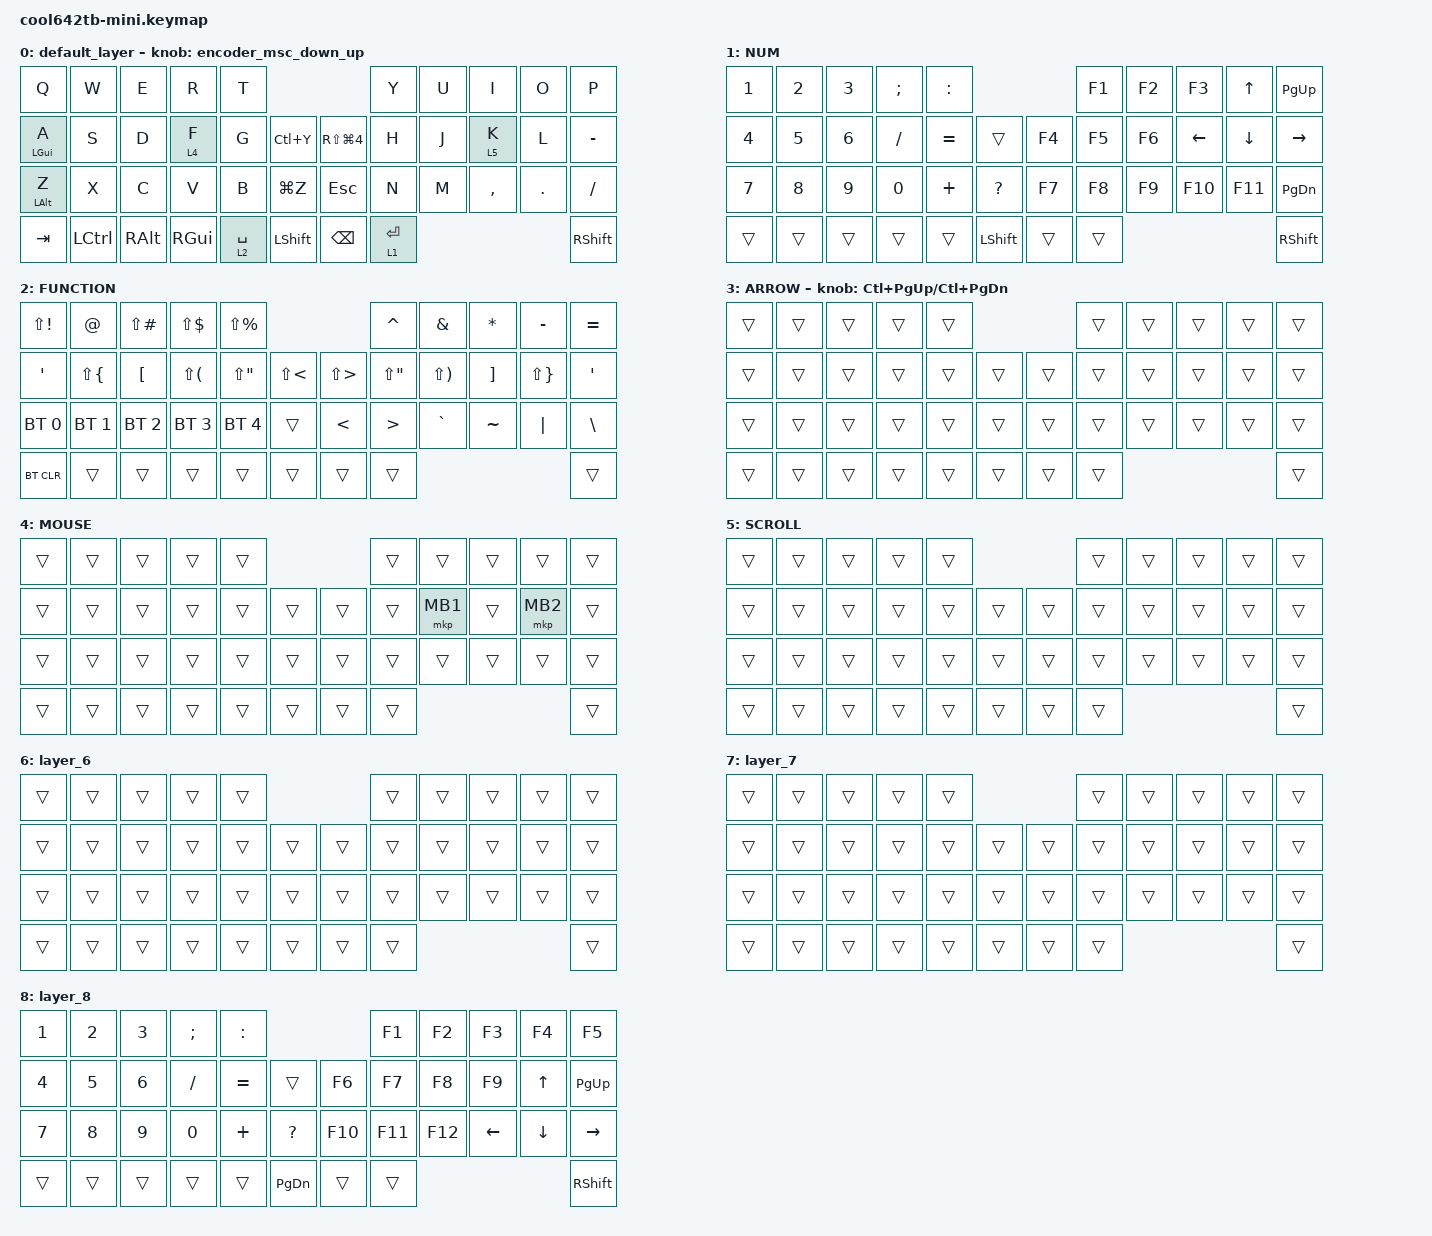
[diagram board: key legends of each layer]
#include <behaviors.dtsi>
#include <dt-bindings/zmk/bt.h>
#include <dt-bindings/zmk/keys.h>
#include <dt-bindings/zmk/pointing.h>

#define MOUSE 4
#define SCROLL 5
#define NUM 6
#define ZMK_POINTING_DEFAULT_SCRL_VAL 80

&mt {
    flavor = "balanced";
    quick-tap-ms = <0>;
};

/ {
    combos {
        compatible = "zmk,combos";

        shift_tab {
            bindings = <&kp LANG2>;
            key-positions = <12 13>;
        };

        lang {
            bindings = <&kp LANG1>;
            key-positions = <12 11>;
        };

        left_click {
            bindings = <&mkp MB1>;
            key-positions = <19 18>;
        };

        right_click {
            bindings = <&mkp MB2>;
            key-positions = <19 20>;
        };

        left_clicl_f {
            bindings = <&mkp MB1>;
            key-positions = <18 13>;
        };

        right_clicl_f {
            bindings = <&mkp MB2>;
            key-positions = <20 13>;
        };
    };

    behaviors {
        encoder_msc_down_up: encoder_msc_down_up {
            compatible = "zmk,behavior-sensor-rotate";
            label = "ENCODER_MSC_DOWN_UP";
            #sensor-binding-cells = <0>;
            bindings = <&msc SCRL_UP>, <&msc SCRL_DOWN>;

            tap-ms = <20>;
        };
    };

    keymap {
        compatible = "zmk,keymap";

        default_layer {
            bindings = <
&kp Q           &kp W             &kp E          &kp R          &kp T                                              &kp Y        &kp U  &kp I      &kp O    &kp P
&mt LEFT_GUI A  &kp S             &kp D          &lt 4 F        &kp G        &kp LC(Y)       &kp RS(LG(NUMBER_4))  &kp H        &kp J  &lt 5 K    &kp L    &kp MINUS
&mt LEFT_ALT Z  &kp X             &kp C          &kp V          &kp B        &kp LG(Z)       &kp ESCAPE            &kp N        &kp M  &kp COMMA  &kp DOT  &kp SLASH
&kp TAB         &kp LEFT_CONTROL  &kp RIGHT_ALT  &kp RIGHT_GUI  &lt 2 SPACE  &kp LSHIFT      &kp BACKSPACE         &lt 1 ENTER                             &kp RIGHT_SHIFT
            >;

            sensor-bindings = <&encoder_msc_down_up>;
        };

        NUM {
            bindings = <
&kp N1        &kp N2  &kp N3        &kp SEMI   &kp COLON                              &kp F1  &kp F2  &kp F3    &kp UP_ARROW    &kp PAGE_UP
&kp NUMBER_4  &kp N5  &kp NUMBER_6  &kp SLASH  &kp EQUAL  &trans              &kp F4  &kp F5  &kp F6  &kp LEFT  &kp DOWN_ARROW  &kp RIGHT
&kp N7        &kp N8  &kp N9        &kp N0     &kp PLUS   &kp QUESTION        &kp F7  &kp F8  &kp F9  &kp F10   &kp F11         &kp PAGE_DOWN
&trans        &trans  &trans        &trans     &trans     &kp LEFT_SHIFT      &trans  &trans                                    &kp RIGHT_SHIFT
            >;
        };

        FUNCTION {
            bindings = <
&kp LS(EXCL)  &kp AT        &kp LS(POUND)  &kp LS(DLLR)  &kp LS(PRCNT)                                 &kp CARET         &kp AMPERSAND  &kp ASTRK  &kp MINUS     &kp EQUAL
&kp SQT       &kp LS(LBRC)  &kp LBKT       &kp LS(LPAR)  &kp LS(DQT)    &kp LS(LT)      &kp LS(GT)     &kp LS(DQT)       &kp LS(RPAR)   &kp RBKT   &kp LS(RBRC)  &kp SQT
&bt BT_SEL 0  &bt BT_SEL 1  &bt BT_SEL 2   &bt BT_SEL 3  &bt BT_SEL 4   &trans          &kp LESS_THAN  &kp GREATER_THAN  &kp GRAVE      &kp TILDE  &kp PIPE      &kp BACKSLASH
&bt BT_CLR    &trans        &trans         &trans        &trans         &trans          &trans         &trans                                                    &trans
            >;
        };

        ARROW {
            bindings = <
&trans  &trans  &trans  &trans  &trans                      &trans  &trans  &trans  &trans  &trans
&trans  &trans  &trans  &trans  &trans  &trans      &trans  &trans  &trans  &trans  &trans  &trans
&trans  &trans  &trans  &trans  &trans  &trans      &trans  &trans  &trans  &trans  &trans  &trans
&trans  &trans  &trans  &trans  &trans  &trans      &trans  &trans                          &trans
            >;

            sensor-bindings = <&inc_dec_kp LC(PAGE_UP) LC(PAGE_DOWN)>;
        };

        MOUSE {
            bindings = <
&trans  &trans  &trans  &trans  &trans                      &trans  &trans    &trans  &trans    &trans
&trans  &trans  &trans  &trans  &trans  &trans      &trans  &trans  &mkp MB1  &trans  &mkp MB2  &trans
&trans  &trans  &trans  &trans  &trans  &trans      &trans  &trans  &trans    &trans  &trans    &trans
&trans  &trans  &trans  &trans  &trans  &trans      &trans  &trans                              &trans
            >;
        };

        SCROLL {
            bindings = <
&trans  &trans  &trans  &trans  &trans                      &trans  &trans  &trans  &trans  &trans
&trans  &trans  &trans  &trans  &trans  &trans      &trans  &trans  &trans  &trans  &trans  &trans
&trans  &trans  &trans  &trans  &trans  &trans      &trans  &trans  &trans  &trans  &trans  &trans
&trans  &trans  &trans  &trans  &trans  &trans      &trans  &trans                          &trans
            >;
        };

        layer_6 {
            bindings = <
&trans  &trans  &trans  &trans  &trans                      &trans  &trans  &trans  &trans  &trans
&trans  &trans  &trans  &trans  &trans  &trans      &trans  &trans  &trans  &trans  &trans  &trans
&trans  &trans  &trans  &trans  &trans  &trans      &trans  &trans  &trans  &trans  &trans  &trans
&trans  &trans  &trans  &trans  &trans  &trans      &trans  &trans                          &trans
            >;
        };

        layer_7 {
            bindings = <
&trans  &trans  &trans  &trans  &trans                      &trans  &trans  &trans  &trans  &trans
&trans  &trans  &trans  &trans  &trans  &trans      &trans  &trans  &trans  &trans  &trans  &trans
&trans  &trans  &trans  &trans  &trans  &trans      &trans  &trans  &trans  &trans  &trans  &trans
&trans  &trans  &trans  &trans  &trans  &trans      &trans  &trans                          &trans
            >;
        };

        layer_8 {
            bindings = <
&kp N1        &kp N2  &kp N3        &kp SEMI   &kp COLON                              &kp F1   &kp F2   &kp F3          &kp F4          &kp F5
&kp NUMBER_4  &kp N5  &kp NUMBER_6  &kp SLASH  &kp EQUAL  &trans             &kp F6   &kp F7   &kp F8   &kp F9          &kp UP_ARROW    &kp PAGE_UP
&kp N7        &kp N8  &kp N9        &kp N0     &kp PLUS   &kp QUESTION       &kp F10  &kp F11  &kp F12  &kp LEFT_ARROW  &kp DOWN_ARROW  &kp RIGHT_ARROW
&trans        &trans  &trans        &trans     &trans     &kp PAGE_DOWN      &trans   &trans                                            &kp RIGHT_SHIFT
            >;
        };
    };
};
